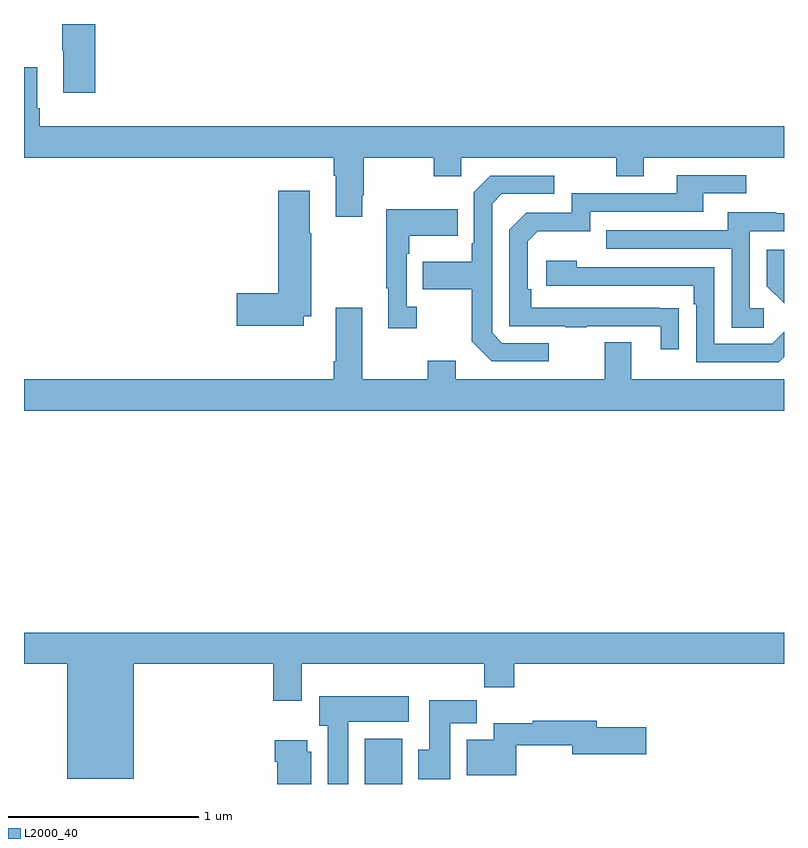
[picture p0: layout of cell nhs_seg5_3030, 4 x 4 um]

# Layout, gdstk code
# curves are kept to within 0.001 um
import gdstk
lib = gdstk.Library(unit=1e-6, precision=1e-09)
def R(c, l, rs):  # rectangles x0, y0, x1, y1
    for r in rs: c.add(gdstk.rectangle(r[:2], r[2:], *l))
def P(c, l, *ps):  # polygons
    for p in ps: c.add(gdstk.Polygon(p, *l))
L2000_40 = (2000, 40)

nhs_seg5_3030 = lib.new_cell('nhs_seg5_3030')
R(nhs_seg5_3030, L2000_40, [(288.794,850.799,288.991,851.038)])
P(nhs_seg5_3030, L2000_40, [(287.375,854.799),(287.2,854.799),(287.2,854.659),(287.207,854.659),(287.207,854.436),(287.375,854.436)],
  [(288.781,853.897),(288.789,853.897),(288.789,854.096),(289.156,854.096),(289.156,853.997),(289.302,853.997),(289.302,854.096),(290.116,854.096),(290.116,853.997),(290.263,853.997),(290.263,854.096),(291,854.096),(291,854.26),(287.084,854.26),(287.084,854.356),(287.071,854.356),(287.071,854.572),(287,854.572),(287,854.096),(288.629,854.096),(288.629,854),(288.641,854),(288.641,853.785),(288.781,853.785)],
  [(290.447,853.304),(289.67,853.305),(289.67,853.402),(289.65,853.402),(289.65,853.656),(289.703,853.709),(289.98,853.709),(289.98,853.812),(290.575,853.812),(290.575,853.908),(290.8,853.908),(290.8,854.004),(290.435,854.004),(290.435,853.908),(289.884,853.908),(289.884,853.806),(289.644,853.806),(289.554,853.716),(289.554,853.209),(289.849,853.209),(289.849,853.204),(289.961,853.204),(289.961,853.209),(290.351,853.209),(290.351,853.086),(290.447,853.086)],
  [(289.762,853.119),(289.518,853.119),(289.464,853.173),(289.464,853.854),(289.515,853.905),(289.792,853.905),(289.792,854.001),(289.455,854.001),(289.368,853.914),(289.368,853.645),(289.356,853.645),(289.356,853.549),(289.099,853.549),(289.099,853.402),(289.356,853.402),(289.356,853.129),(289.461,853.023),(289.762,853.023)],
  [(288.472,853.262),(288.513,853.262),(288.513,853.697),(288.505,853.697),(288.505,853.921),(288.338,853.921),(288.338,853.382),(288.12,853.382),(288.12,853.211),(288.472,853.211)],
  [(289.066,853.31),(289.014,853.31),(289.014,853.589),(289.027,853.589),(289.027,853.685),(289.283,853.685),(289.283,853.825),(288.906,853.825),(288.906,853.409),(288.917,853.409),(288.917,853.197),(289.066,853.197)],
  [(290.893,853.302),(290.82,853.302),(290.82,853.707),(291,853.707),(291,853.803),(290.959,853.803),(290.959,853.807),(290.705,853.807),(290.705,853.713),(290.065,853.713),(290.065,853.617),(290.724,853.617),(290.724,853.201),(290.893,853.201)],
  [(291,853.612),(290.91,853.612),(290.91,853.418),(291,853.328)],
  [(291,853.047),(291,853.179),(290.937,853.116),(290.634,853.116),(290.634,853.518),(289.91,853.518),(289.91,853.552),(289.749,853.552),(289.749,853.422),(290.525,853.422),(290.525,853.325),(290.538,853.325),(290.538,853.02),(290.973,853.02)],
  [(291,852.928),(290.197,852.928),(290.197,853.123),(290.057,853.123),(290.057,852.928),(289.273,852.928),(289.273,853.027),(289.126,853.027),(289.126,852.928),(288.781,852.928),(288.781,853.306),(288.641,853.306),(288.641,853.024),(288.629,853.024),(288.629,852.928),(287,852.928),(287,852.764),(291,852.764)],
  [(287.578,851.432),(288.311,851.432),(288.311,851.238),(288.463,851.238),(288.463,851.432),(289.423,851.432),(289.423,851.308),(289.58,851.308),(289.58,851.432),(291,851.432),(291,851.596),(287,851.596),(287,851.432),(287.228,851.432),(287.228,850.826),(287.578,850.826)],
  [(288.706,851.126),(289.024,851.126),(289.024,851.26),(288.554,851.26),(288.554,851.106),(288.599,851.106),(288.599,850.799),(288.706,850.799)],
  [(289.243,851.12),(289.382,851.12),(289.382,851.239),(289.133,851.239),(289.133,850.98),(289.076,850.98),(289.076,850.824),(289.243,850.824)],
  [(289.59,851.002),(289.886,851.002),(289.886,850.955),(290.275,850.955),(290.275,851.097),(290.014,851.097),(290.014,851.131),(289.678,851.131),(289.678,851.12),(289.472,851.12),(289.472,851.032),(289.331,851.032),(289.331,850.844),(289.59,850.844)],
  [(288.511,850.968),(288.49,850.968),(288.49,851.029),(288.32,851.029),(288.32,850.916),(288.332,850.916),(288.332,850.799),(288.511,850.799)])

lib.write_gds('nhs_seg5_3030.gds')
